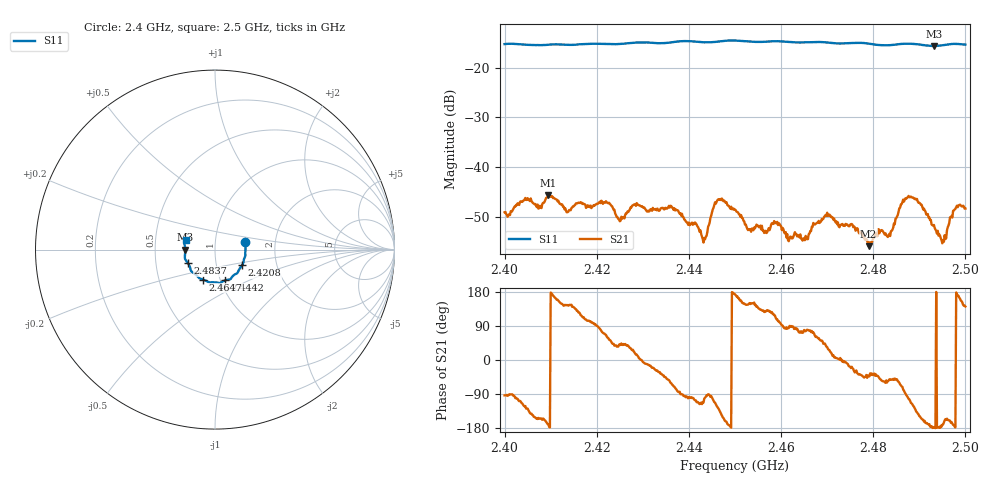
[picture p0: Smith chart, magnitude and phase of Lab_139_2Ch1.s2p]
# Hz S RI R 50
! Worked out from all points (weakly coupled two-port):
!   601 points, 2.4 GHz to 2.5 GHz, reference 50 ohm
!   highest |S21| = -45.73 dB at 2.4095 GHz (marker M1); lowest = -55.9 dB at 2.479 GHz (marker M2)
!   lowest |S11| = -15.6 dB at 2.4932 GHz (marker M3), VSWR 1.40, Z = 35.8 - j0.0872 ohm
!   |S11| at or under -10 dB: start of sweep to end of sweep
!   S12 and S22 are empty: the file has one direction only
!   S11 on the Smith chart (normalised r, x): 2.4 GHz: 1.40, +0.12; 2.4208 GHz: 1.33, -0.24; 2.4442 GHz: 1.05, -0.37; 2.4647 GHz: 0.83, -0.29; 2.4837 GHz: 0.73, -0.11; 2.5 GHz: 0.72, +0.08
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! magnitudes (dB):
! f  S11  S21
! 2.4 GHz  -15.2  -49.1
! 2.4095 GHz  -15.3  -45.7
! 2.4167 GHz  -15.3  -47.3
! 2.4208 GHz  -15.2  -47.3
! 2.425 GHz  -15.2  -50.9
! 2.4333 GHz  -15.1  -48.7
! 2.4432 GHz  -14.9  -55.2
! 2.4442 GHz  -14.9  -52.0
! 2.4462 GHz  -14.7  -46.7
! 2.45 GHz  -14.5  -48.5
! 2.453 GHz  -14.7  -52.5
! 2.4647 GHz  -14.9  -54.8
! 2.4667 GHz  -14.8  -52.0
! 2.4702 GHz  -14.9  -49.8
! 2.479 GHz  -15.1  -55.9
! 2.4833 GHz  -15.5  -53.8
! 2.4837 GHz  -15.4  -53.9
! 2.4878 GHz  -15.2  -46.1
! 2.4932 GHz  -15.6  -51.7
! 2.4953 GHz  -15.4  -55.1
! 2.4978 GHz  -15.2  -48.4
! 2.5 GHz  -15.3  -48.4
